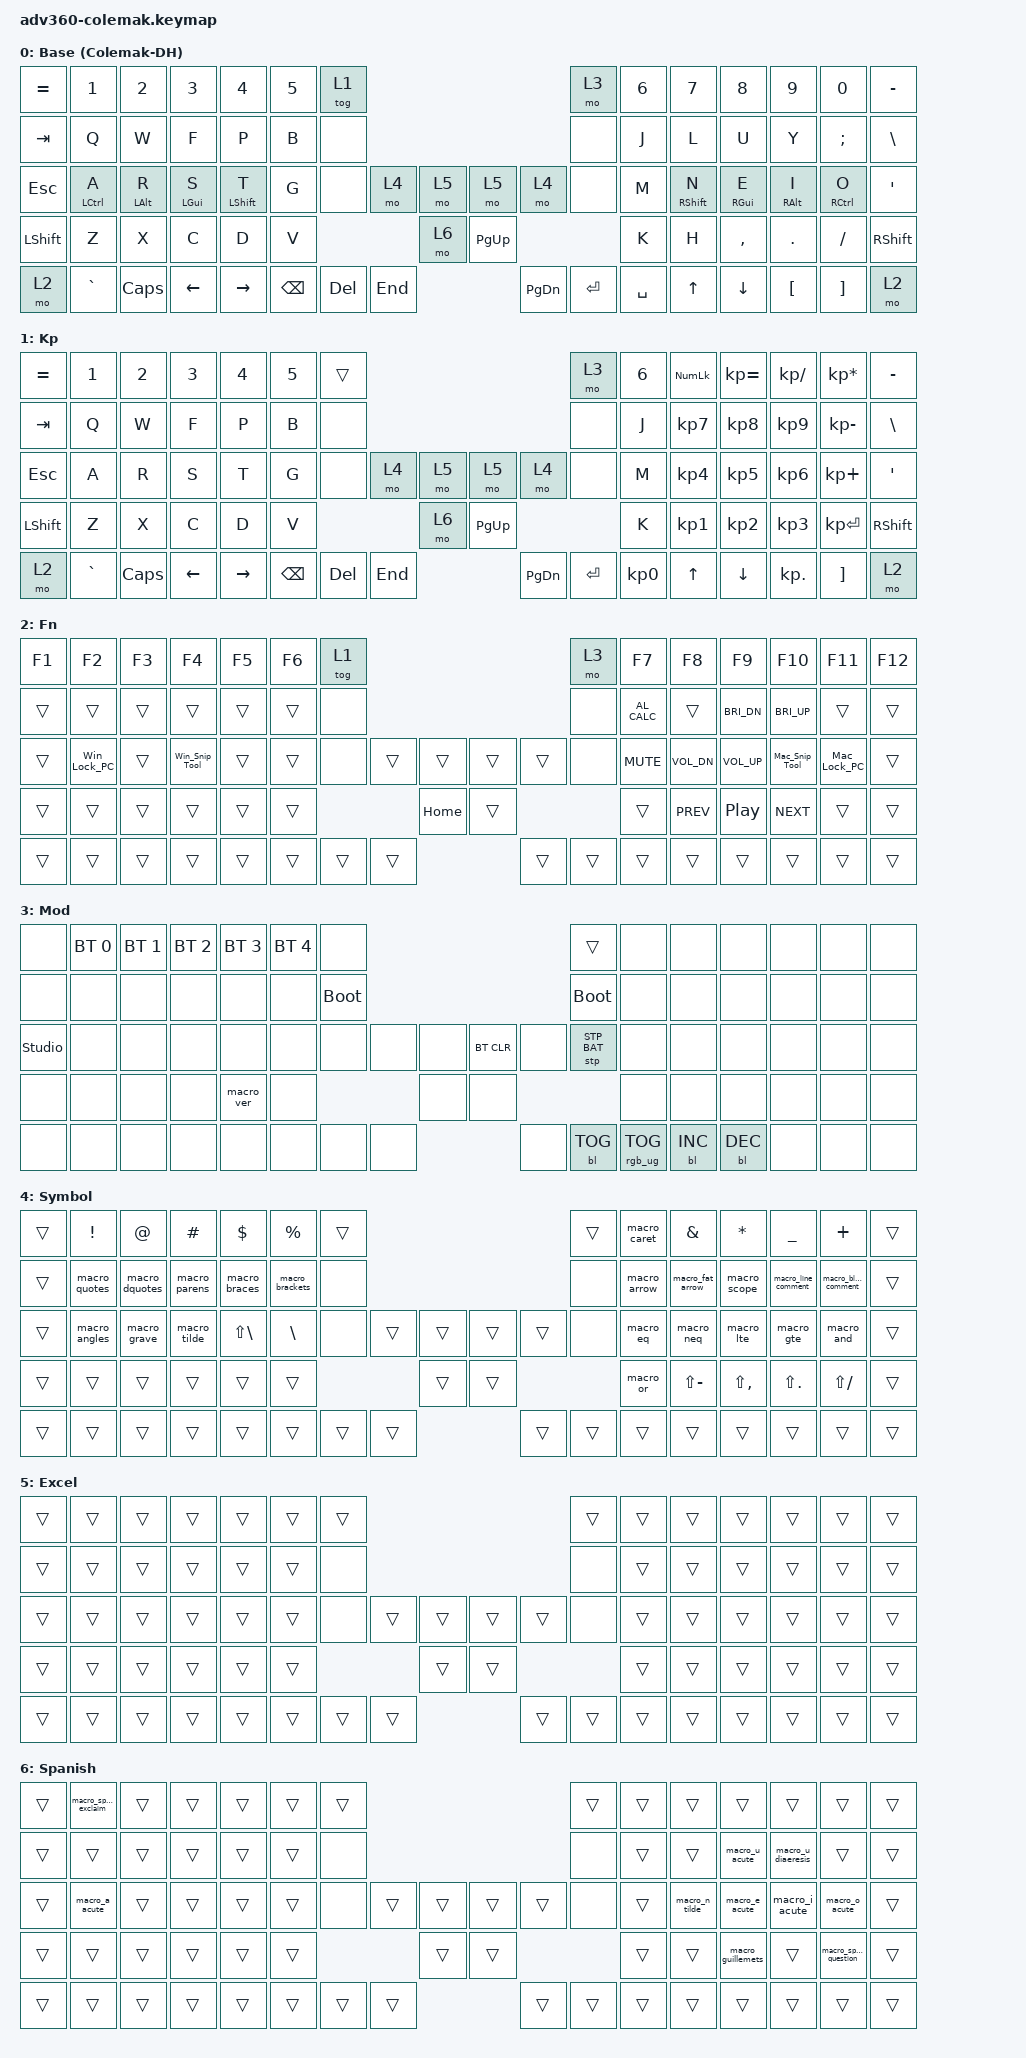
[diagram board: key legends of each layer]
/*
* Euxener Colemak-DH base keyboard layout
* Version 2.0
*/

#include <behaviors.dtsi>
#include <dt-bindings/zmk/keys.h>
#include <dt-bindings/zmk/bt.h>
#include <dt-bindings/zmk/rgb.h>
#include <dt-bindings/zmk/stp.h>
#include <dt-bindings/zmk/backlight.h>
#include <dt-bindings/zmk/pointing.h>

// Key position groups for bilateral mods or home row mods
#define KEYS_L 0 1 2 3 4 5 6 14 15 16 17 18 19 20 28 29 30 31 32 33 34 46 47 48 49 50 51 60 61 62 63 64
#define KEYS_R 7 8 9 10 11 12 13 21 22 23 24 25 26 27 39 40 41 42 43 44 45 54 55 56 57 58 59 71 72 73 74 75
#define THUMBS 35 36 37 38 52 53 65 66 67 68 69 70

/ {
    behaviors {

#include "macros.dtsi"
#include "version.dtsi"

hml: homerow_mods_left {
    compatible = "zmk,behavior-hold-tap";
    #binding-cells = <2>;
    tapping-term-ms = <280>;
    quick-tap-ms = <175>;
    require-prior-idle-ms = <150>;
    flavor = "tap-preferred";
    bindings = <&kp>, <&kp>;
    hold-trigger-key-positions = <KEYS_R THUMBS>;
    hold-trigger-on-release;
};

hmr: homerow_mods_right {
    compatible = "zmk,behavior-hold-tap";
    #binding-cells = <2>;
    tapping-term-ms = <280>;
    quick-tap-ms = <175>;
    require-prior-idle-ms = <150>;
    flavor = "tap-preferred";
    bindings = <&kp>, <&kp>;
    hold-trigger-key-positions = <KEYS_L THUMBS>;
    hold-trigger-on-release;
};
    };

    keymap {
        compatible = "zmk,keymap";

        default_layer {
            display-name = "Base (Colemak-DH)";
            bindings = <
                &kp EQUAL &kp N1       &kp N2      &kp N3      &kp N4       &kp N5 &tog 1                                                           &mo 3 &kp N6 &kp N7       &kp N8      &kp N9      &kp N0       &kp MINUS
                &kp TAB   &kp Q        &kp W       &kp F       &kp P        &kp B  &none                                                            &none &kp J  &kp L        &kp U       &kp Y       &kp SEMI     &kp BSLH
                &kp ESC   &hml LCTRL A &hml LALT R &hml LGUI S &hml LSHFT T &kp G  &none               &mo 4   &mo 5    &mo 5     &mo 4             &none &kp M  &hmr RSHFT N &hmr RGUI E &hmr RALT I &hmr RCTRL O &kp SQT
                &kp LSHFT &kp Z        &kp X       &kp C       &kp D        &kp V                              &mo 6    &kp PG_UP                         &kp K  &kp H        &kp COMMA   &kp DOT     &kp FSLH     &kp RSHFT
                &mo 2     &kp GRAVE    &kp CAPS    &kp LEFT    &kp RIGHT                      &kp BSPC &kp DEL &kp END  &kp PG_DN &kp ENTER &kp SPACE            &kp UP       &kp DOWN    &kp LBKT    &kp RBKT     &mo 2
            >;
        };

        keypad {
            display-name = "Kp";
            bindings = <
                &kp EQUAL &kp N1    &kp N2   &kp N3   &kp N4     &kp N5 &trans                                                           &mo 3 &kp N6 &kp KP_NUM &kp KP_EQUAL &kp KP_DIVIDE &kp KP_MULTIPLY &kp MINUS
                &kp TAB   &kp Q     &kp W    &kp F    &kp P      &kp B  &none                                                            &none &kp J  &kp KP_N7  &kp KP_N8    &kp KP_N9     &kp KP_MINUS    &kp BSLH
                &kp ESC   &kp A     &kp R    &kp S    &kp T      &kp G  &none           &mo 4     &mo 5    &mo 5     &mo 4               &none &kp M  &kp KP_N4  &kp KP_N5    &kp KP_N6     &kp KP_PLUS     &kp SQT
                &kp LSHFT &kp Z     &kp X    &kp C    &kp D      &kp V                            &mo 6    &kp PG_UP                           &kp K  &kp KP_N1  &kp KP_N2    &kp KP_N3     &kp KP_ENTER    &kp RSHFT
                &mo 2     &kp GRAVE &kp CAPS &kp LEFT &kp RIGHT                &kp BSPC &kp DEL   &kp END  &kp PG_DN &kp ENTER &kp KP_N0              &kp UP     &kp DOWN     &kp KP_DOT    &kp RBKT        &mo 2
            >;
        };

        fn {
            display-name = "Fn";
            bindings = <
                &kp F1 &kp F2 &kp F3 &kp F4 &kp F5         &kp F6 &tog 1                                                   &mo 3 &kp F7        &kp F8       &kp F9       &kp F10        &kp F11      &kp F12
                &trans &trans &trans &trans &trans         &trans &none                                                    &none &kp C_AL_CALC &trans       &kp C_BRI_DN &kp C_BRI_UP   &trans       &trans
                &trans &Win_Lock_PC  &trans &Win_Snip_Tool &trans &trans &none        &trans &trans   &trans &trans        &none &kp C_MUTE    &kp C_VOL_DN &kp C_VOL_UP &Mac_Snip_Tool &Mac_Lock_PC &trans
                &trans &trans &trans &trans &trans         &trans                            &kp HOME &trans                     &trans        &kp C_PREV   &kp C_PP     &kp C_NEXT     &trans       &trans
                &trans &trans &trans &trans &trans                             &trans &trans &trans   &trans &trans &trans                     &trans       &trans       &trans         &trans       &trans
            >;
        };

        mod {
            display-name = "Mod";
            bindings = <
                &none          &bt BT_SEL 0 &bt BT_SEL 1 &bt BT_SEL 2 &bt BT_SEL 3 &bt BT_SEL 4 &none                                                                     &trans       &none &none      &none      &none &none &none
                &none          &none        &none        &none        &none        &none        &bootloader                                                               &bootloader  &none &none      &none      &none &none &none
                &studio_unlock &none        &none        &none        &none        &none        &none                   &none &none &bt BT_CLR &none                      &stp STP_BAT &none &none      &none      &none &none &none
                &none          &none        &none        &none        &macro_ver   &none                                      &none &none                                              &none &none      &none      &none &none &none
                &none          &none        &none        &none        &none                                       &none &none &none &none      &bl BL_TOG &rgb_ug RGB_TOG                    &bl BL_INC &bl BL_DEC &none &none &none
            >;
        };

        symbol {
            display-name = "Symbol";
            bindings = <
                /* Row 0 */
                &trans &kp EXCL      &kp AT         &kp HASH      &kp DLLR      &kp PRCNT       &trans                                              &trans &macro_caret &kp AMPS         &kp ASTRK     &kp UNDER           &kp PLUS             &trans
                &trans &macro_quotes &macro_dquotes &macro_parens &macro_braces &macro_brackets &none                                               &none  &macro_arrow &macro_fat_arrow &macro_scope  &macro_line_comment &macro_block_comment &trans
                &trans &macro_angles &macro_grave   &macro_tilde  &kp LS(BSLH)  &kp BSLH        &none           &trans &trans &trans &trans         &none  &macro_eq    &macro_neq       &macro_lte    &macro_gte          &macro_and           &trans
                &trans &trans        &trans         &trans        &trans        &trans                                 &trans &trans                       &macro_or    &kp LS(MINUS)    &kp LS(COMMA) &kp LS(DOT)         &kp LS(FSLH)         &trans
                &trans &trans        &trans         &trans        &trans                                 &trans &trans &trans &trans &trans &trans                      &trans           &trans        &trans              &trans               &trans
            >;
        };

        excel {
            display-name = "Excel";
            bindings = <
                // Placeholder - add Macabacus/Excel shortcuts later
                &trans &trans &trans &trans &trans &trans &trans                                                       &trans &trans &trans &trans &trans &trans &trans
                &trans &trans &trans &trans &trans &trans &none                                                        &none  &trans &trans &trans &trans &trans &trans
                &trans &trans &trans &trans &trans &trans &none           &trans &trans &trans &trans                  &none  &trans &trans &trans &trans &trans &trans
                &trans &trans &trans &trans &trans &trans                        &trans &trans                                &trans &trans &trans &trans &trans &trans
                &trans &trans &trans &trans &trans                 &trans &trans &trans &trans &trans &trans                         &trans &trans &trans &trans &trans
            >;
        };

        spanish {
            display-name = "Spanish";
            bindings = <
                &trans &macro_spanish_exclaim &trans &trans &trans &trans &trans                                                       &trans &trans &trans         &trans            &trans             &trans                  &trans
                &trans &trans                 &trans &trans &trans &trans &none                                                        &none  &trans &trans         &macro_u_acute    &macro_u_diaeresis &trans                  &trans
                &trans &macro_a_acute         &trans &trans &trans &trans &none           &trans &trans &trans &trans                  &none  &trans &macro_n_tilde &macro_e_acute    &macro_i_acute     &macro_o_acute          &trans
                &trans &trans                 &trans &trans &trans &trans                        &trans &trans                                &trans &trans         &macro_guillemets &trans             &macro_spanish_question &trans
                &trans &trans                 &trans &trans &trans                 &trans &trans &trans &trans &trans &trans                         &trans         &trans            &trans             &trans                  &trans
            >;
        };

        extra4 {
            display-name = "Yellow";
            status = "reserved";
        };
    };
};
